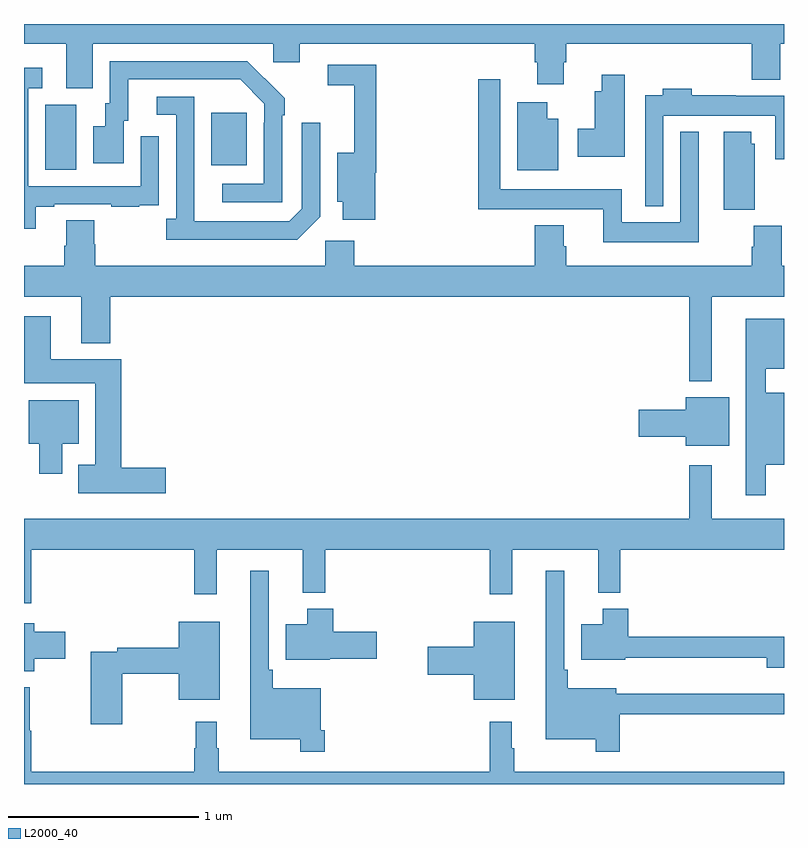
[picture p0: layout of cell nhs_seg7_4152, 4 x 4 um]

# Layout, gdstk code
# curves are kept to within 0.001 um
import gdstk
lib = gdstk.Library(unit=1e-6, precision=1e-09)
def R(c, l, rs):  # rectangles x0, y0, x1, y1
    for r in rs: c.add(gdstk.rectangle(r[:2], r[2:], *l))
def P(c, l, *ps):  # polygons
    for p in ps: c.add(gdstk.Polygon(p, *l))
L2000_40 = (2000, 40)

nhs_seg7_4152 = lib.new_cell('nhs_seg7_4152')
R(nhs_seg7_4152, L2000_40, [(373.112,1053.232,373.276,1053.576), (373.985,1053.257,374.173,1053.532)])
P(nhs_seg7_4152, L2000_40, [(373.363,1053.896),(374.313,1053.896),(374.313,1053.798),(374.452,1053.798),(374.452,1053.896),(375.689,1053.896),(375.689,1053.798),(375.701,1053.798),(375.701,1053.684),(375.841,1053.684),(375.841,1053.798),(375.854,1053.798),(375.854,1053.896),(376.829,1053.896),(376.829,1053.707),(376.981,1053.707),(376.981,1053.896),(377,1053.896),(377,1054),(373,1054),(373,1053.896),(373.223,1053.896),(373.223,1053.661),(373.363,1053.661)],
  [(374.358,1053.521),(374.373,1053.521),(374.373,1053.609),(374.176,1053.804),(373.452,1053.804),(373.452,1053.582),(373.427,1053.582),(373.427,1053.463),(373.364,1053.463),(373.364,1053.267),(373.525,1053.267),(373.525,1053.492),(373.549,1053.492),(373.549,1053.708),(374.137,1053.708),(374.265,1053.579),(374.265,1053.479),(374.262,1053.479),(374.262,1053.159),(374.043,1053.159),(374.043,1053.063),(374.358,1053.063)],
  [(374.849,1053.218),(374.855,1053.218),(374.855,1053.786),(374.598,1053.786),(374.598,1053.678),(374.738,1053.678),(374.738,1053.322),(374.648,1053.322),(374.648,1053.065),(374.678,1053.065),(374.678,1052.97),(374.849,1052.97)],
  [(373.063,1053.039),(373.159,1053.039),(373.159,1053.051),(373.459,1053.051),(373.459,1053.039),(373.607,1053.039),(373.607,1053.045),(373.709,1053.045),(373.709,1053.154),(373.71,1053.154),(373.71,1053.409),(373.614,1053.409),(373.614,1053.147),(373.023,1053.147),(373.023,1053.663),(373.096,1053.663),(373.096,1053.769),(373,1053.769),(373,1052.922),(373.063,1052.922)],
  [(376.162,1053.733),(376.04,1053.733),(376.04,1053.646),(376.004,1053.646),(376.004,1053.45),(375.915,1053.45),(375.915,1053.302),(376.162,1053.302)],
  [(376.552,1053.433),(376.455,1053.433),(376.455,1052.956),(376.146,1052.956),(376.146,1053.13),(375.507,1053.13),(375.507,1053.709),(375.391,1053.709),(375.391,1053.024),(375.514,1053.024),(375.514,1053.026),(376.049,1053.026),(376.049,1052.852),(376.552,1052.852)],
  [(376.365,1053.518),(376.953,1053.518),(376.953,1053.288),(377,1053.288),(377,1053.622),(376.745,1053.622),(376.745,1053.625),(376.514,1053.625),(376.514,1053.658),(376.361,1053.658),(376.361,1053.625),(376.269,1053.625),(376.269,1053.041),(376.365,1053.041)],
  [(374.559,1052.985),(374.559,1053.481),(374.463,1053.481),(374.463,1053.027),(374.397,1052.961),(373.897,1052.961),(373.896,1053.618),(373.698,1053.618),(373.698,1053.522),(373.8,1053.522),(373.8,1052.974),(373.749,1052.974),(373.749,1052.864),(374.438,1052.864)],
  [(375.811,1053.502),(375.754,1053.502),(375.754,1053.589),(375.596,1053.589),(375.596,1053.23),(375.811,1053.23)],
  [(376.846,1053.369),(376.828,1053.369),(376.828,1053.433),(376.682,1053.433),(376.682,1053.022),(376.846,1053.022)],
  [(376.621,1052.564),(377,1052.564),(377,1052.728),(376.989,1052.728),(376.989,1052.937),(376.841,1052.937),(376.841,1052.828),(376.829,1052.828),(376.829,1052.728),(375.854,1052.728),(375.854,1052.829),(375.841,1052.829),(375.841,1052.941),(375.689,1052.941),(375.689,1052.728),(374.738,1052.728),(374.738,1052.86),(374.586,1052.86),(374.586,1052.728),(373.376,1052.728),(373.376,1052.841),(373.371,1052.841),(373.371,1052.966),(373.223,1052.966),(373.223,1052.834),(373.211,1052.834),(373.211,1052.728),(373,1052.728),(373,1052.564),(373.301,1052.564),(373.301,1052.321),(373.454,1052.321),(373.454,1052.564),(376.5,1052.564),(376.5,1052.12),(376.621,1052.12)],
  [(373.747,1051.664),(373.511,1051.664),(373.511,1052.236),(373.141,1052.236),(373.141,1052.461),(373.001,1052.461),(373.001,1052.108),(373.376,1052.108),(373.376,1051.681),(373.286,1051.681),(373.286,1051.529),(373.747,1051.529)],
  [(376.903,1051.679),(377,1051.679),(377,1052.059),(376.903,1052.059),(376.903,1052.186),(377,1052.186),(377,1052.449),(376.799,1052.449),(376.799,1051.521),(376.903,1051.521)],
  [(376.711,1052.035),(376.484,1052.035),(376.484,1051.97),(376.236,1051.97),(376.236,1051.828),(376.484,1051.828),(376.484,1051.781),(376.711,1051.781)],
  [(373.201,1051.79),(373.288,1051.79),(373.288,1052.02),(373.025,1052.02),(373.025,1051.79),(373.079,1051.79),(373.079,1051.632),(373.201,1051.632)],
  [(373.039,1051.232),(373.897,1051.232),(373.897,1050.999),(374.015,1050.999),(374.015,1051.232),(374.468,1051.232),(374.468,1051.007),(374.585,1051.007),(374.585,1051.232),(375.451,1051.232),(375.451,1050.999),(375.569,1050.999),(375.569,1051.232),(376.022,1051.232),(376.022,1051.007),(376.139,1051.007),(376.139,1051.232),(377,1051.232),(377,1051.396),(376.621,1051.396),(376.621,1051.678),(376.5,1051.678),(376.5,1051.396),(373,1051.396),(373,1050.951),(373.039,1050.951)],
  [(376.136,1050.366),(377,1050.366),(377,1050.475),(376.814,1050.475),(376.814,1050.476),(376.117,1050.476),(376.117,1050.505),(375.863,1050.505),(375.863,1050.601),(375.843,1050.601),(375.843,1051.123),(375.746,1051.123),(375.746,1050.236),(376.008,1050.236),(376.008,1050.171),(376.136,1050.171)],
  [(374.582,1050.283),(374.562,1050.283),(374.562,1050.505),(374.309,1050.505),(374.309,1050.601),(374.289,1050.601),(374.289,1051.123),(374.192,1051.123),(374.192,1050.236),(374.454,1050.236),(374.454,1050.171),(374.582,1050.171)],
  [(377,1050.775),(376.181,1050.775),(376.181,1050.922),(376.046,1050.922),(376.046,1050.841),(375.932,1050.841),(375.932,1050.653),(376.164,1050.653),(376.164,1050.665),(376.91,1050.665),(376.91,1050.611),(377,1050.611)],
  [(374.61,1050.659),(374.857,1050.659),(374.857,1050.801),(374.627,1050.801),(374.627,1050.922),(374.492,1050.922),(374.492,1050.841),(374.378,1050.841),(374.378,1050.653),(374.61,1050.653)],
  [(373.516,1050.58),(373.814,1050.58),(373.814,1050.443),(374.029,1050.443),(374.029,1050.853),(373.814,1050.853),(373.814,1050.716),(373.492,1050.716),(373.492,1050.696),(373.351,1050.696),(373.351,1050.315),(373.516,1050.315)],
  [(375.583,1050.853),(375.368,1050.853),(375.368,1050.722),(375.126,1050.722),(375.126,1050.575),(375.368,1050.575),(375.368,1050.443),(375.583,1050.443)],
  [(373.054,1050.659),(373.216,1050.659),(373.216,1050.801),(373.054,1050.801),(373.054,1050.847),(373,1050.847),(373,1050.593),(373.054,1050.593)],
  [(377,1050.064),(375.58,1050.064),(375.58,1050.188),(375.568,1050.188),(375.568,1050.328),(375.451,1050.328),(375.451,1050.064),(374.026,1050.064),(374.026,1050.188),(374.014,1050.188),(374.014,1050.328),(373.905,1050.328),(373.905,1050.188),(373.897,1050.188),(373.897,1050.064),(373.039,1050.064),(373.039,1050.281),(373.031,1050.281),(373.031,1050.508),(373,1050.508),(373,1050),(377,1050)])

lib.write_gds('nhs_seg7_4152.gds')
